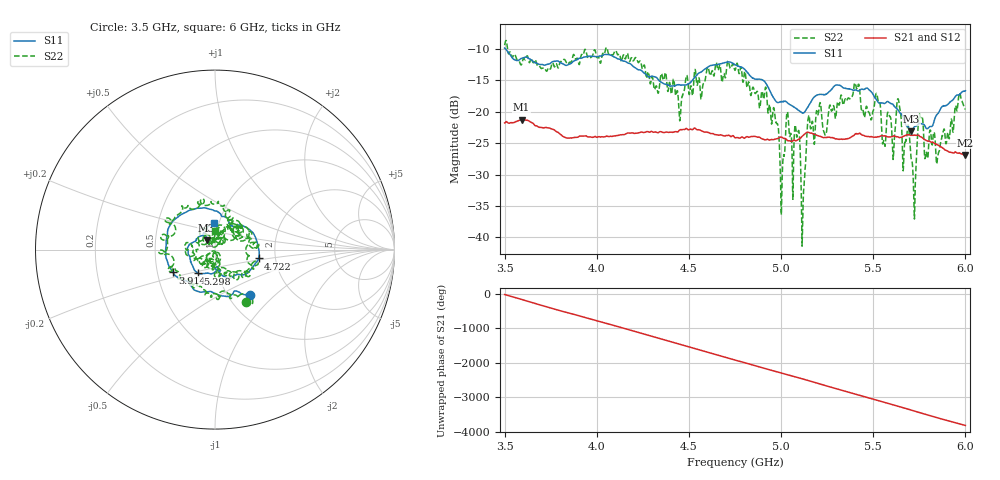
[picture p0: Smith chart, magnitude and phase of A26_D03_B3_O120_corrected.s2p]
! Created with skrf 1.9.0 (http://scikit-rf.org).
# Hz S RI R 50.0
!freq ReS11 ImS11 ReS21 ImS21 ReS12 ImS12 ReS22 ImS22
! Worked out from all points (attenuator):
!   1601 points, 3.5 GHz to 6 GHz, reference 50 ohm
!   highest |S21| = -21.29 dB at 3.592 GHz (marker M1); lowest = -26.9 dB at 6 GHz (marker M2)
!   lowest |S11| = -23.1 dB at 5.706 GHz (marker M3), VSWR 1.15, Z = 45.3 + j4.69 ohm
!   |S11| at or under -10 dB: 3.505 GHz to end of sweep
!   |S22| runs from -41.4 to -8.7 dB; largest |S21 - S12| = 0.00096
!   S11 on the Smith chart (normalised r, x): 3.5 GHz: 1.26, -0.71; 3.914 GHz: 0.60, -0.17; 4.722 GHz: 1.63, -0.17; 5.298 GHz: 0.80, -0.22; 6 GHz: 0.94, +0.28
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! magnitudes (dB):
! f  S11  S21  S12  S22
! 3.5 GHz  -9.9  -21.8  -21.8  -9.4
! 3.592 GHz  -11.5  -21.3  -21.3  -12.5
! 3.914 GHz  -11.5  -23.9  -23.8  -11.2
! 3.917 GHz  -11.5  -23.9  -23.9  -10.9
! 4.334 GHz  -14.9  -23.3  -23.3  -17.0
! 4.722 GHz  -12.1  -23.8  -23.8  -12.9
! 4.75 GHz  -12.5  -24.2  -24.1  -13.4
! 4.969 GHz  -18.2  -24.4  -24.3  -21.3
! 5.005 GHz  -18.4  -24.1  -24.1  -31.7
! 5.034 GHz  -18.6  -24.6  -24.5  -20.0
! 5.088 GHz  -19.6  -24.5  -24.5  -23.8
! 5.119 GHz  -20.2  -23.8  -23.7  -35.0
! 5.145 GHz  -19.3  -23.3  -23.2  -21.4
! 5.167 GHz  -18.1  -23.4  -23.4  -21.7
! 5.298 GHz  -15.8  -24.3  -24.3  -20.5
! 5.584 GHz  -18.5  -24.0  -24.0  -20.3
! 5.639 GHz  -19.9  -24.1  -24.1  -18.4
! 5.706 GHz  -23.1  -23.8  -23.7  -27.6
! 5.725 GHz  -22.4  -23.7  -23.7  -35.7
! 5.756 GHz  -21.9  -24.0  -23.9  -21.0
! 5.85 GHz  -20.3  -25.3  -25.3  -27.0
! 6 GHz  -16.7  -26.9  -26.8  -19.6
